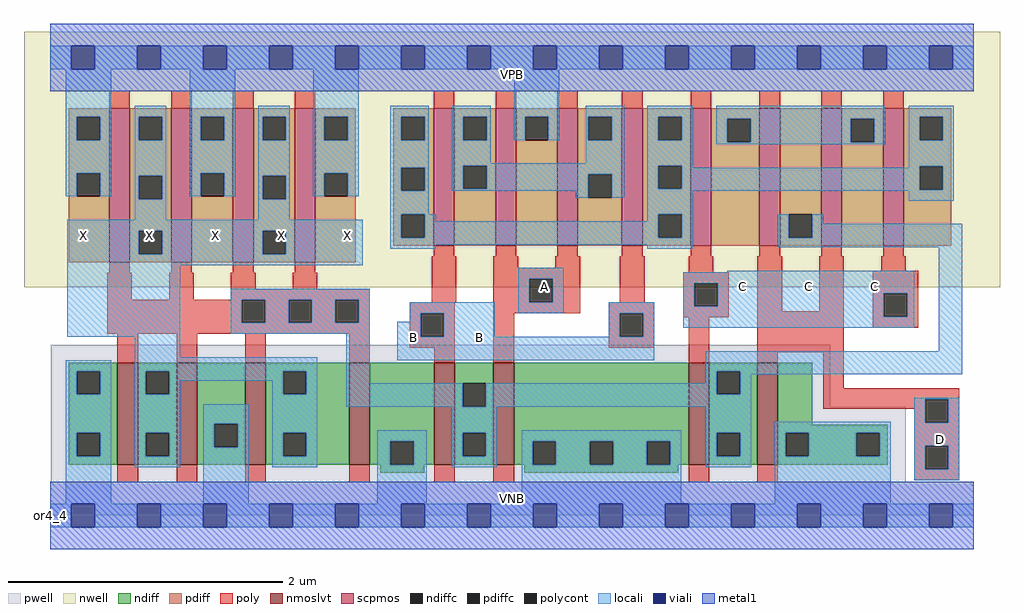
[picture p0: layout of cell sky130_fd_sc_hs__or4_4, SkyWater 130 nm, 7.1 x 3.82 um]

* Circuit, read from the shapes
.subckt sky130_fd_sc_hs__or4_4 A B C D VGND VNB VPB VPWR X
XM1 X n1 VGND VNB sky130_fd_pr__nfet_01v8_lvt w=0.74 l=0.15 m=4
XM2 n1 B VGND VNB sky130_fd_pr__nfet_01v8_lvt w=0.74 l=0.15
XM3 VGND A n1 VNB sky130_fd_pr__nfet_01v8_lvt w=0.74 l=0.15
XM4 n1 C VGND VNB sky130_fd_pr__nfet_01v8_lvt w=0.74 l=0.15
XM5 VGND D n1 VNB sky130_fd_pr__nfet_01v8_lvt w=0.74 l=0.15
XM6 X n1 VPWR VPB sky130_fd_pr__pfet_01v8 w=1.12 l=0.15 m=4
XM7 n2 B n3 VPB sky130_fd_pr__pfet_01v8 w=1 l=0.15 m=2
XM8 VPWR A n2 VPB sky130_fd_pr__pfet_01v8 w=1 l=0.15 m=2
XM9 n4 C n3 VPB sky130_fd_pr__pfet_01v8 w=1 l=0.15 m=2
XM10 n1 D n4 VPB sky130_fd_pr__pfet_01v8 w=1 l=0.15 m=2
.ends

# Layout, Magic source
magic
tech sky130A
magscale 1 2
<< nwell >>
rect -38 332 1382 704
<< pwell >>
rect 1 158 1135 248
rect 1 49 1245 158
rect 0 0 1344 49
<< scpmos >>
rect 86 368 116 592
rect 176 368 206 592
rect 266 368 296 592
rect 356 368 386 592
rect 558 392 588 592
rect 648 392 678 592
rect 738 392 768 592
rect 832 392 862 592
rect 932 392 962 592
rect 1032 392 1062 592
rect 1122 392 1152 592
rect 1212 392 1242 592
<< nmoslvt >>
rect 98 74 128 222
rect 184 74 214 222
rect 284 74 314 222
rect 435 74 465 222
rect 559 74 589 222
rect 645 74 675 222
rect 929 74 959 222
rect 1029 74 1059 222
<< ndiff >>
rect 27 210 98 222
rect 27 176 39 210
rect 73 176 98 210
rect 27 120 98 176
rect 27 86 39 120
rect 73 86 98 120
rect 27 74 98 86
rect 128 210 184 222
rect 128 176 139 210
rect 173 176 184 210
rect 128 120 184 176
rect 128 86 139 120
rect 173 86 184 120
rect 128 74 184 86
rect 214 133 284 222
rect 214 99 239 133
rect 273 99 284 133
rect 214 74 284 99
rect 314 210 435 222
rect 314 176 339 210
rect 373 176 435 210
rect 314 120 435 176
rect 314 86 339 120
rect 373 86 435 120
rect 314 74 435 86
rect 465 108 559 222
rect 465 74 495 108
rect 529 74 559 108
rect 589 192 645 222
rect 589 158 600 192
rect 634 158 645 192
rect 589 120 645 158
rect 589 86 600 120
rect 634 86 645 120
rect 589 74 645 86
rect 675 108 929 222
rect 675 74 702 108
rect 736 74 785 108
rect 819 74 868 108
rect 902 74 929 108
rect 959 210 1029 222
rect 959 176 970 210
rect 1004 176 1029 210
rect 959 120 1029 176
rect 959 86 970 120
rect 1004 86 1029 120
rect 959 74 1029 86
rect 1059 132 1109 222
rect 1059 120 1219 132
rect 1059 86 1070 120
rect 1104 86 1173 120
rect 1207 86 1219 120
rect 1059 74 1219 86
rect 480 62 544 74
rect 690 62 914 74
<< pdiff >>
rect 27 580 86 592
rect 27 546 39 580
rect 73 546 86 580
rect 27 498 86 546
rect 27 464 39 498
rect 73 464 86 498
rect 27 368 86 464
rect 116 580 176 592
rect 116 546 129 580
rect 163 546 176 580
rect 116 494 176 546
rect 116 460 129 494
rect 163 460 176 494
rect 116 414 176 460
rect 116 380 129 414
rect 163 380 176 414
rect 116 368 176 380
rect 206 580 266 592
rect 206 546 219 580
rect 253 546 266 580
rect 206 498 266 546
rect 206 464 219 498
rect 253 464 266 498
rect 206 368 266 464
rect 296 580 356 592
rect 296 546 309 580
rect 343 546 356 580
rect 296 494 356 546
rect 296 460 309 494
rect 343 460 356 494
rect 296 414 356 460
rect 296 380 309 414
rect 343 380 356 414
rect 296 368 356 380
rect 386 580 445 592
rect 386 546 399 580
rect 433 546 445 580
rect 386 498 445 546
rect 386 464 399 498
rect 433 464 445 498
rect 386 368 445 464
rect 499 580 558 592
rect 499 546 511 580
rect 545 546 558 580
rect 499 506 558 546
rect 499 472 511 506
rect 545 472 558 506
rect 499 438 558 472
rect 499 404 511 438
rect 545 404 558 438
rect 499 392 558 404
rect 588 580 648 592
rect 588 546 601 580
rect 635 546 648 580
rect 588 509 648 546
rect 588 475 601 509
rect 635 475 648 509
rect 588 392 648 475
rect 678 580 738 592
rect 678 546 691 580
rect 725 546 738 580
rect 678 392 738 546
rect 768 580 832 592
rect 768 546 783 580
rect 817 546 832 580
rect 768 496 832 546
rect 768 462 783 496
rect 817 462 832 496
rect 768 392 832 462
rect 862 580 932 592
rect 862 546 885 580
rect 919 546 932 580
rect 862 509 932 546
rect 862 475 885 509
rect 919 475 932 509
rect 862 438 932 475
rect 862 404 885 438
rect 919 404 932 438
rect 862 392 932 404
rect 962 577 1032 592
rect 962 543 985 577
rect 1019 543 1032 577
rect 962 392 1032 543
rect 1062 438 1122 592
rect 1062 404 1075 438
rect 1109 404 1122 438
rect 1062 392 1122 404
rect 1152 577 1212 592
rect 1152 543 1165 577
rect 1199 543 1212 577
rect 1152 392 1212 543
rect 1242 580 1311 592
rect 1242 546 1265 580
rect 1299 546 1311 580
rect 1242 508 1311 546
rect 1242 474 1265 508
rect 1299 474 1311 508
rect 1242 392 1311 474
<< ndiffc >>
rect 39 176 73 210
rect 39 86 73 120
rect 139 176 173 210
rect 139 86 173 120
rect 239 99 273 133
rect 339 176 373 210
rect 339 86 373 120
rect 495 74 529 108
rect 600 158 634 192
rect 600 86 634 120
rect 702 74 736 108
rect 785 74 819 108
rect 868 74 902 108
rect 970 176 1004 210
rect 970 86 1004 120
rect 1070 86 1104 120
rect 1173 86 1207 120
<< pdiffc >>
rect 39 546 73 580
rect 39 464 73 498
rect 129 546 163 580
rect 129 460 163 494
rect 129 380 163 414
rect 219 546 253 580
rect 219 464 253 498
rect 309 546 343 580
rect 309 460 343 494
rect 309 380 343 414
rect 399 546 433 580
rect 399 464 433 498
rect 511 546 545 580
rect 511 472 545 506
rect 511 404 545 438
rect 601 546 635 580
rect 601 475 635 509
rect 691 546 725 580
rect 783 546 817 580
rect 783 462 817 496
rect 885 546 919 580
rect 885 475 919 509
rect 885 404 919 438
rect 985 543 1019 577
rect 1075 404 1109 438
rect 1165 543 1199 577
rect 1265 546 1299 580
rect 1265 474 1299 508
<< poly >>
rect 86 592 116 618
rect 176 592 206 618
rect 266 592 296 618
rect 356 592 386 618
rect 558 592 588 618
rect 648 592 678 618
rect 738 592 768 618
rect 832 592 862 618
rect 932 592 962 618
rect 1032 592 1062 618
rect 1122 592 1152 618
rect 1212 592 1242 618
rect 558 377 588 392
rect 648 377 678 392
rect 738 377 768 392
rect 832 377 862 392
rect 932 377 962 392
rect 1032 377 1062 392
rect 1122 377 1152 392
rect 1212 377 1242 392
rect 86 353 116 368
rect 176 353 206 368
rect 266 353 296 368
rect 356 353 386 368
rect 83 314 119 353
rect 173 314 209 353
rect 263 330 299 353
rect 353 330 389 353
rect 263 314 465 330
rect 83 280 279 314
rect 313 280 347 314
rect 381 280 415 314
rect 449 280 465 314
rect 555 310 591 377
rect 645 360 681 377
rect 735 360 771 377
rect 645 344 771 360
rect 645 310 697 344
rect 731 310 771 344
rect 829 310 865 377
rect 929 354 965 377
rect 921 338 987 354
rect 83 264 465 280
rect 98 222 128 264
rect 184 222 214 264
rect 284 222 314 264
rect 435 222 465 264
rect 523 294 589 310
rect 523 260 539 294
rect 573 260 589 294
rect 523 244 589 260
rect 559 222 589 244
rect 645 294 771 310
rect 813 294 879 310
rect 645 222 675 294
rect 813 260 829 294
rect 863 260 879 294
rect 921 304 937 338
rect 971 304 987 338
rect 921 288 987 304
rect 1029 297 1065 377
rect 1119 297 1155 377
rect 1209 356 1245 377
rect 813 244 879 260
rect 929 222 959 288
rect 1029 237 1155 297
rect 1197 323 1263 356
rect 1197 289 1213 323
rect 1247 289 1263 323
rect 1197 273 1263 289
rect 1029 222 1059 237
rect 1125 185 1155 237
rect 1125 169 1323 185
rect 1125 155 1273 169
rect 1257 135 1273 155
rect 1307 135 1323 169
rect 1257 101 1323 135
rect 98 48 128 74
rect 184 48 214 74
rect 284 48 314 74
rect 435 48 465 74
rect 559 48 589 74
rect 645 48 675 74
rect 929 48 959 74
rect 1029 48 1059 74
rect 1257 67 1273 101
rect 1307 67 1323 101
rect 1257 51 1323 67
<< polycont >>
rect 279 280 313 314
rect 347 280 381 314
rect 415 280 449 314
rect 697 310 731 344
rect 539 260 573 294
rect 829 260 863 294
rect 937 304 971 338
rect 1213 289 1247 323
rect 1273 135 1307 169
rect 1273 67 1307 101
<< locali >>
rect 0 649 31 683
rect 65 649 127 683
rect 161 649 223 683
rect 257 649 319 683
rect 353 649 415 683
rect 449 649 511 683
rect 545 649 607 683
rect 641 649 703 683
rect 737 649 799 683
rect 833 649 895 683
rect 929 649 991 683
rect 1025 649 1087 683
rect 1121 649 1183 683
rect 1217 649 1279 683
rect 1313 649 1344 683
rect 23 580 89 649
rect 23 546 39 580
rect 73 546 89 580
rect 23 498 89 546
rect 23 464 39 498
rect 73 464 89 498
rect 123 580 169 596
rect 123 546 129 580
rect 163 546 169 580
rect 123 494 169 546
rect 123 460 129 494
rect 163 460 169 494
rect 203 580 269 649
rect 203 546 219 580
rect 253 546 269 580
rect 203 498 269 546
rect 203 464 219 498
rect 253 464 269 498
rect 303 580 349 596
rect 303 546 309 580
rect 343 546 349 580
rect 303 494 349 546
rect 123 430 169 460
rect 303 460 309 494
rect 343 460 349 494
rect 383 580 449 649
rect 383 546 399 580
rect 433 546 449 580
rect 383 498 449 546
rect 383 464 399 498
rect 433 464 449 498
rect 495 580 551 596
rect 495 546 511 580
rect 545 546 551 580
rect 495 506 551 546
rect 495 472 511 506
rect 545 472 551 506
rect 585 580 641 596
rect 585 546 601 580
rect 635 546 641 580
rect 675 580 741 649
rect 675 546 691 580
rect 725 546 741 580
rect 779 580 835 596
rect 779 546 783 580
rect 817 546 835 580
rect 585 512 641 546
rect 779 512 835 546
rect 585 509 835 512
rect 585 475 601 509
rect 635 496 835 509
rect 635 475 783 496
rect 585 472 783 475
rect 303 430 349 460
rect 495 438 551 472
rect 765 462 783 472
rect 817 462 835 496
rect 869 580 935 596
rect 869 546 885 580
rect 919 546 935 580
rect 869 509 935 546
rect 969 577 1215 596
rect 969 543 985 577
rect 1019 543 1165 577
rect 1199 543 1215 577
rect 969 540 1215 543
rect 1249 580 1315 596
rect 1249 546 1265 580
rect 1299 546 1315 580
rect 869 475 885 509
rect 919 506 935 509
rect 1249 508 1315 546
rect 1249 506 1265 508
rect 919 475 1265 506
rect 869 474 1265 475
rect 1299 474 1315 508
rect 869 472 1315 474
rect 869 438 935 472
rect 1249 458 1315 472
rect 25 414 455 430
rect 25 380 129 414
rect 163 380 309 414
rect 343 380 455 414
rect 495 404 511 438
rect 545 428 561 438
rect 869 428 885 438
rect 545 404 885 428
rect 919 404 935 438
rect 495 394 935 404
rect 495 388 561 394
rect 869 388 935 394
rect 1059 404 1075 438
rect 1109 424 1125 438
rect 1109 404 1327 424
rect 1059 390 1327 404
rect 25 364 455 380
rect 25 260 189 364
rect 681 344 747 360
rect 985 354 1257 356
rect 263 314 465 330
rect 263 280 279 314
rect 313 280 347 314
rect 381 280 415 314
rect 449 280 465 314
rect 681 310 697 344
rect 731 310 747 344
rect 921 338 1257 354
rect 523 294 647 310
rect 681 294 747 310
rect 813 294 879 310
rect 523 282 539 294
rect 263 264 465 280
rect 123 230 189 260
rect 23 210 89 226
rect 23 176 39 210
rect 73 176 89 210
rect 23 120 89 176
rect 23 86 39 120
rect 73 86 89 120
rect 23 17 89 86
rect 123 210 389 230
rect 123 176 139 210
rect 173 196 339 210
rect 173 176 189 196
rect 123 120 189 176
rect 323 176 339 196
rect 373 176 389 210
rect 123 86 139 120
rect 173 86 189 120
rect 123 70 189 86
rect 223 133 289 162
rect 223 99 239 133
rect 273 99 289 133
rect 223 17 289 99
rect 323 120 389 176
rect 431 192 465 264
rect 505 260 539 282
rect 573 260 647 294
rect 813 260 829 294
rect 863 260 879 294
rect 921 304 937 338
rect 971 323 1257 338
rect 971 304 1213 323
rect 921 289 1213 304
rect 1247 289 1257 323
rect 921 273 1257 289
rect 505 226 879 260
rect 1293 239 1327 390
rect 954 210 1327 239
rect 954 192 970 210
rect 431 158 600 192
rect 634 176 970 192
rect 1004 205 1327 210
rect 1004 176 1020 205
rect 634 158 1020 176
rect 323 86 339 120
rect 373 86 389 120
rect 323 70 389 86
rect 476 108 548 124
rect 476 74 495 108
rect 529 74 548 108
rect 476 17 548 74
rect 584 120 650 158
rect 584 86 600 120
rect 634 86 650 120
rect 584 70 650 86
rect 686 108 918 124
rect 686 74 702 108
rect 736 74 785 108
rect 819 74 868 108
rect 902 74 918 108
rect 686 17 918 74
rect 954 120 1020 158
rect 1257 169 1323 171
rect 954 86 970 120
rect 1004 86 1020 120
rect 954 70 1020 86
rect 1054 120 1223 136
rect 1054 86 1070 120
rect 1104 86 1173 120
rect 1207 86 1223 120
rect 1054 17 1223 86
rect 1257 135 1273 169
rect 1307 135 1323 169
rect 1257 101 1323 135
rect 1257 67 1273 101
rect 1307 67 1323 101
rect 1257 51 1323 67
rect 0 -17 31 17
rect 65 -17 127 17
rect 161 -17 223 17
rect 257 -17 319 17
rect 353 -17 415 17
rect 449 -17 511 17
rect 545 -17 607 17
rect 641 -17 703 17
rect 737 -17 799 17
rect 833 -17 895 17
rect 929 -17 991 17
rect 1025 -17 1087 17
rect 1121 -17 1183 17
rect 1217 -17 1279 17
rect 1313 -17 1344 17
<< viali >>
rect 31 649 65 683
rect 127 649 161 683
rect 223 649 257 683
rect 319 649 353 683
rect 415 649 449 683
rect 511 649 545 683
rect 607 649 641 683
rect 703 649 737 683
rect 799 649 833 683
rect 895 649 929 683
rect 991 649 1025 683
rect 1087 649 1121 683
rect 1183 649 1217 683
rect 1279 649 1313 683
rect 31 -17 65 17
rect 127 -17 161 17
rect 223 -17 257 17
rect 319 -17 353 17
rect 415 -17 449 17
rect 511 -17 545 17
rect 607 -17 641 17
rect 703 -17 737 17
rect 799 -17 833 17
rect 895 -17 929 17
rect 991 -17 1025 17
rect 1087 -17 1121 17
rect 1183 -17 1217 17
rect 1279 -17 1313 17
<< metal1 >>
rect 0 683 1344 715
rect 0 649 31 683
rect 65 649 127 683
rect 161 649 223 683
rect 257 649 319 683
rect 353 649 415 683
rect 449 649 511 683
rect 545 649 607 683
rect 641 649 703 683
rect 737 649 799 683
rect 833 649 895 683
rect 929 649 991 683
rect 1025 649 1087 683
rect 1121 649 1183 683
rect 1217 649 1279 683
rect 1313 649 1344 683
rect 0 617 1344 649
rect 0 17 1344 49
rect 0 -17 31 17
rect 65 -17 127 17
rect 161 -17 223 17
rect 257 -17 319 17
rect 353 -17 415 17
rect 449 -17 511 17
rect 545 -17 607 17
rect 641 -17 703 17
rect 737 -17 799 17
rect 833 -17 895 17
rect 929 -17 991 17
rect 1025 -17 1087 17
rect 1121 -17 1183 17
rect 1217 -17 1279 17
rect 1313 -17 1344 17
rect 0 -49 1344 -17
<< labels >>
rlabel comment s 0 0 0 0 4 or4_4
flabel pwell s 0 0 1344 49 0 FreeSans 200 0 0 0 VNB
port 6 nsew ground bidirectional
flabel nwell s 0 617 1344 666 0 FreeSans 200 0 0 0 VPB
port 7 nsew power bidirectional
flabel metal1 s 0 617 1344 666 0 FreeSans 340 0 0 0 VPWR
port 8 nsew power bidirectional
flabel metal1 s 0 0 1344 49 0 FreeSans 340 0 0 0 VGND
port 5 nsew ground bidirectional
flabel locali s 31 390 65 424 0 FreeSans 340 0 0 0 X
port 9 nsew signal output
flabel locali s 127 390 161 424 0 FreeSans 340 0 0 0 X
port 9 nsew signal output
flabel locali s 223 390 257 424 0 FreeSans 340 0 0 0 X
port 9 nsew signal output
flabel locali s 319 390 353 424 0 FreeSans 340 0 0 0 X
port 9 nsew signal output
flabel locali s 415 390 449 424 0 FreeSans 340 0 0 0 X
port 9 nsew signal output
flabel locali s 1279 94 1313 128 0 FreeSans 340 0 0 0 D
port 4 nsew signal input
flabel locali s 991 316 1025 350 0 FreeSans 340 0 0 0 C
port 3 nsew signal input
flabel locali s 1087 316 1121 350 0 FreeSans 340 0 0 0 C
port 3 nsew signal input
flabel locali s 1183 316 1217 350 0 FreeSans 340 0 0 0 C
port 3 nsew signal input
flabel locali s 511 242 545 276 0 FreeSans 340 0 0 0 B
port 2 nsew signal input
flabel locali s 607 242 641 276 0 FreeSans 340 0 0 0 B
port 2 nsew signal input
flabel locali s 703 316 737 350 0 FreeSans 340 0 0 0 A
port 1 nsew signal input
<< properties >>
string LEFsite unit
string LEFclass CORE
string FIXED_BBOX 0 0 1344 666
string GDS_FILE $PDKPATH/libs.ref/sky130_fd_sc_hs/gds/sky130_fd_sc_hs.gds
string LEFsymmetry X Y
string GDS_END 346760
string GDS_START 335220
<< end >>
